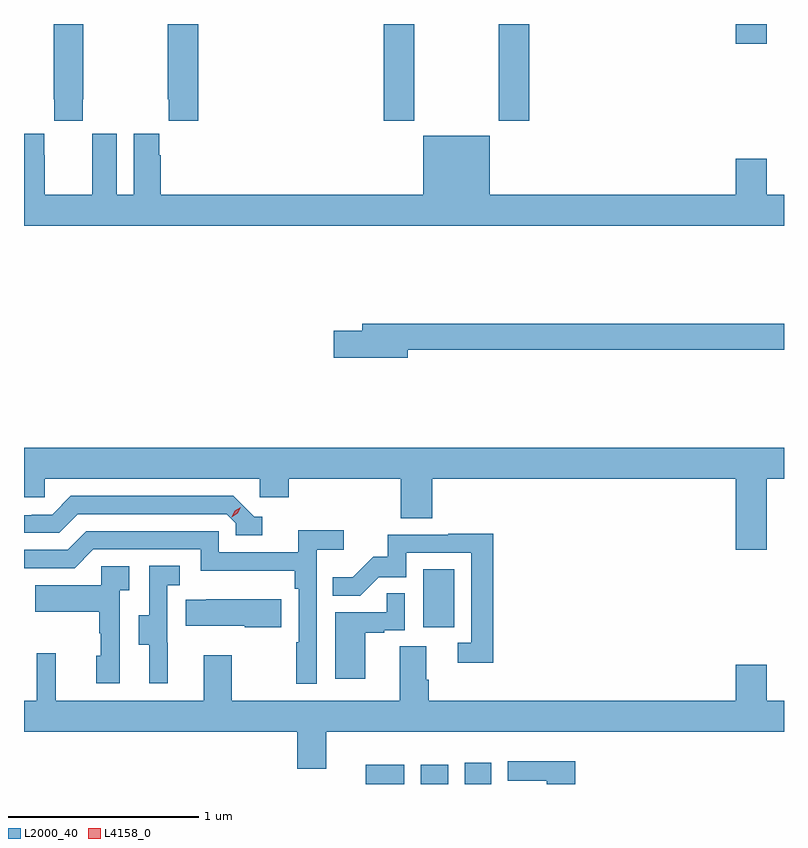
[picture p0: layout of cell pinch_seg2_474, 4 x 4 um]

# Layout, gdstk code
import gdstk
lib = gdstk.Library(unit=1e-6, precision=1e-09)
def R(c, l, rs):  # rectangles x0, y0, x1, y1
    for r in rs: c.add(gdstk.rectangle(r[:2], r[2:], *l))
def P(c, l, *ps):  # polygons
    for p in ps: c.add(gdstk.Polygon(p, *l))
L2000_40 = (2000, 40)
L4158_0 = (4158, 0)

pinch_seg2_474 = lib.new_cell('pinch_seg2_474')
R(pinch_seg2_474, L2000_40, [(942.281,584.758,942.484,584.86), (942.572,584.758,942.715,584.86), (942.803,584.758,942.943,584.869), (942.584,585.582,942.748,585.889), (942.377,588.249,942.537,588.758), (942.982,588.249,943.142,588.758), (944.228,588.654,944.392,588.758)])
P(pinch_seg2_474, L2000_40, [(940.791,588.361),(940.794,588.361),(940.794,588.758),(940.639,588.758),(940.639,588.361),(940.641,588.361),(940.641,588.249),(940.791,588.249)],
  [(941.399,588.758),(941.239,588.758),(941.239,588.361),(941.245,588.361),(941.245,588.249),(941.399,588.249)],
  [(944.483,587.86),(944.392,587.86),(944.392,588.049),(944.228,588.049),(944.228,587.86),(942.934,587.86),(942.934,588.169),(942.584,588.169),(942.584,587.86),(941.204,587.86),(941.204,588.068),(941.194,588.068),(941.194,588.181),(941.06,588.181),(941.06,587.86),(940.972,587.86),(940.972,588.181),(940.842,588.181),(940.842,588.068),(940.841,588.068),(940.841,587.86),(940.591,587.86),(940.591,588.068),(940.59,588.068),(940.59,588.181),(940.483,588.181),(940.483,587.696),(944.483,587.696)],
  [(942.502,587.044),(944.483,587.044),(944.483,587.18),(942.263,587.18),(942.263,587.144),(942.114,587.144),(942.114,587.002),(942.502,587.002)],
  [(940.483,586.266),(940.593,586.266),(940.593,586.364),(941.724,586.364),(941.724,586.266),(941.876,586.266),(941.876,586.364),(942.467,586.364),(942.467,586.156),(942.632,586.156),(942.632,586.364),(944.228,586.364),(944.228,585.99),(944.392,585.99),(944.392,586.364),(944.483,586.364),(944.483,586.528),(940.483,586.528)],
  [(941.737,586.164),(941.694,586.164),(941.583,586.275),(940.73,586.275),(940.631,586.176),(940.524,586.176),(940.524,586.173),(940.483,586.173),(940.483,586.08),(940.668,586.08),(940.767,586.179),(941.55,586.179),(941.598,586.131),(941.598,586.068),(941.737,586.068)],
  [(942.024,585.992),(942.166,585.992),(942.166,586.094),(941.927,586.094),(941.927,585.978),(941.508,585.978),(941.508,586.089),(940.811,586.089),(940.712,585.99),(940.483,585.99),(940.483,585.894),(940.749,585.894),(940.848,585.993),(941.412,585.993),(941.412,585.881),(941.908,585.881),(941.908,585.785),(941.928,585.785),(941.928,585.503),(941.916,585.503),(941.916,585.285),(942.024,585.285)],
  [(942.953,586.076),(942.715,586.076),(942.715,586.071),(942.397,586.071),(942.397,585.954),(942.32,585.954),(942.213,585.847),(942.109,585.847),(942.109,585.748),(942.253,585.748),(942.351,585.846),(942.495,585.846),(942.495,585.975),(942.837,585.975),(942.837,585.501),(942.765,585.501),(942.765,585.396),(942.953,585.396)],
  [(941.24,585.501),(941.238,585.501),(941.238,585.805),(941.302,585.805),(941.302,585.908),(941.142,585.908),(941.142,585.645),(941.087,585.645),(941.087,585.49),(941.141,585.49),(941.141,585.288),(941.24,585.288)],
  [(940.986,585.779),(941.038,585.779),(941.038,585.903),(940.89,585.903),(940.89,585.805),(940.543,585.805),(940.543,585.665),(940.878,585.665),(940.878,585.551),(940.888,585.551),(940.888,585.432),(940.862,585.432),(940.862,585.288),(940.986,585.288)],
  [(942.28,585.555),(942.38,585.555),(942.38,585.567),(942.486,585.567),(942.486,585.761),(942.391,585.761),(942.391,585.663),(942.122,585.663),(942.122,585.312),(942.28,585.312)],
  [(941.836,585.73),(941.443,585.73),(941.443,585.727),(941.335,585.727),(941.335,585.59),(941.645,585.59),(941.645,585.583),(941.836,585.583)],
  [(942.073,585.032),(944.483,585.032),(944.483,585.196),(944.392,585.196),(944.392,585.385),(944.228,585.385),(944.228,585.196),(942.614,585.196),(942.614,585.308),(942.601,585.308),(942.601,585.482),(942.461,585.482),(942.461,585.196),(941.577,585.196),(941.577,585.436),(941.429,585.436),(941.429,585.196),(940.649,585.196),(940.649,585.445),(940.551,585.445),(940.551,585.196),(940.483,585.196),(940.483,585.032),(941.921,585.032),(941.921,584.838),(942.073,584.838)],
  [(943.385,584.878),(943.029,584.878),(943.029,584.776),(943.234,584.776),(943.234,584.758),(943.385,584.758)])
P(pinch_seg2_474, L4158_0, [(941.576,586.163),(941.576,586.163),(941.593,586.195),(941.623,586.215),(941.624,586.215),(941.624,586.214),(941.608,586.182),(941.577,586.163)])

lib.write_gds('pinch_seg2_474.gds')
